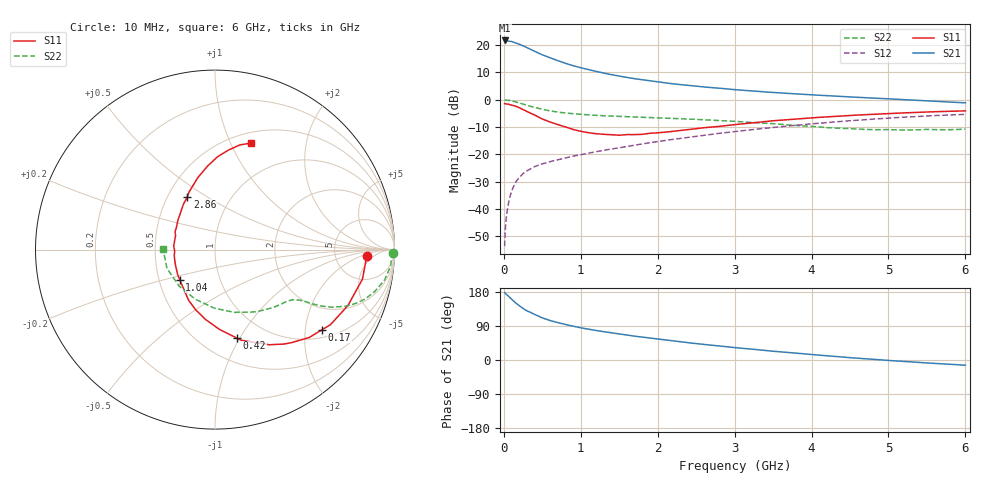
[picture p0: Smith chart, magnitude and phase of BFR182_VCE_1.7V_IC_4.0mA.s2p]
! Infineon Technologies  Discrete & RF Semiconductors
! BFR182
! VCE =  1.7 V,  IC =  4.0 mA
! Common Emitter S-Parameters:  Nov 2015
# GHz  S  MA  R  50
!  f  S11  S21  S12  S22
! GHz  MAG  ANG  MAG  ANG  MAG  ANG  MAG  ANG
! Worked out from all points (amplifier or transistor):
!   210 points, 10 MHz to 6 GHz, reference 50 ohm
!   highest |S21| = 21.7 dB at 10 MHz (marker M1)
!   |S21| within 3 dB of that: start of sweep to 328.2 MHz
!   unconditionally stable (mu >= 1): 1.144 GHz to 2.931 GHz
!   at 185 MHz: K = 0.28, MSG = 24.7 dB, |S12| = -29.0 dB
!   at 1.52 GHz: K = 1.06, MAG = 11.5 dB, |S12| = -17.4 dB
!   at 6 GHz: K = 0.90, MSG = 2.1 dB, |S12| = -5.3 dB
!   S11 on the Smith chart (normalised r, x): 10 MHz: 11, -3; 170 MHz: 1.23, -2.47; 420 MHz: 0.73, -0.97; 1.04 GHz: 0.64, -0.23; 2.86 GHz: 0.63, +0.42; 6 GHz: 0.61, +1.20
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0.01  0.849 -2.5  12.16 178.1  0.0021 90.7  0.9922 -1.0
0.04  0.8382 -9.0  11.93 172.1  0.0087 85.8  0.9833 -4.3
0.1  0.8036 -22.8  11.68 160.7  0.0211 78.3  0.9596 -10.2
0.15  0.7674 -33.0  11.01 151.1  0.0303 72.5  0.9194 -14.8
0.17  0.7449 -36.8  10.75 148.1  0.0333 71.0  0.9029 -16.2
0.2  0.7179 -43.0  10.41 143.4  0.0379 69.3  0.8792 -18.3
0.26  0.6508 -54.0  9.589 134.7  0.0457 64.4  0.8255 -21.7
0.3  0.6104 -60.3  8.996 129.7  0.0501 62.8  0.7912 -23.5
0.42  0.5081 -76.1  7.484 118.4  0.0613 58.6  0.7131 -26.6
0.5  0.4454 -86.8  6.643 111.1  0.0673 57.2  0.6692 -28.0
0.6  0.3924 -97.8  5.863 104.2  0.0737 56.7  0.6254 -29.0
0.68  0.3597 -105.6  5.331 99.8  0.0784 56.7  0.6007 -29.5
0.8  0.3188 -117.4  4.638 93.6  0.0862 56.3  0.5722 -30.1
1.02  0.2614 -137.5  3.793 84.3  0.1 57.2  0.5388 -31.3
1.04  0.258 -139.6  3.734 83.6  0.1014 57.4  0.5364 -31.5
1.4  0.2297 -171.3  2.877 71.6  0.1256 59.1  0.5029 -34.4
2.02  0.2497 149.0  2.108 54.7  0.1739 59.1  0.4682 -41.8
2.86  0.3332 117.6  1.599 35.8  0.2489 55.3  0.4143 -56.6
3.1  0.362 112.0  1.495 31.0  0.2718 53.4  0.3943 -62.1
4.1  0.4773 93.6  1.21 12.8  0.3727 43.8  0.3174 -94.5
5.1  0.5677 81.0  1.024 -2.4  0.4718 31.3  0.2814 -139.3
6  0.6269 71.3  0.879 -13.8  0.5415 18.2  0.2902 178.9
